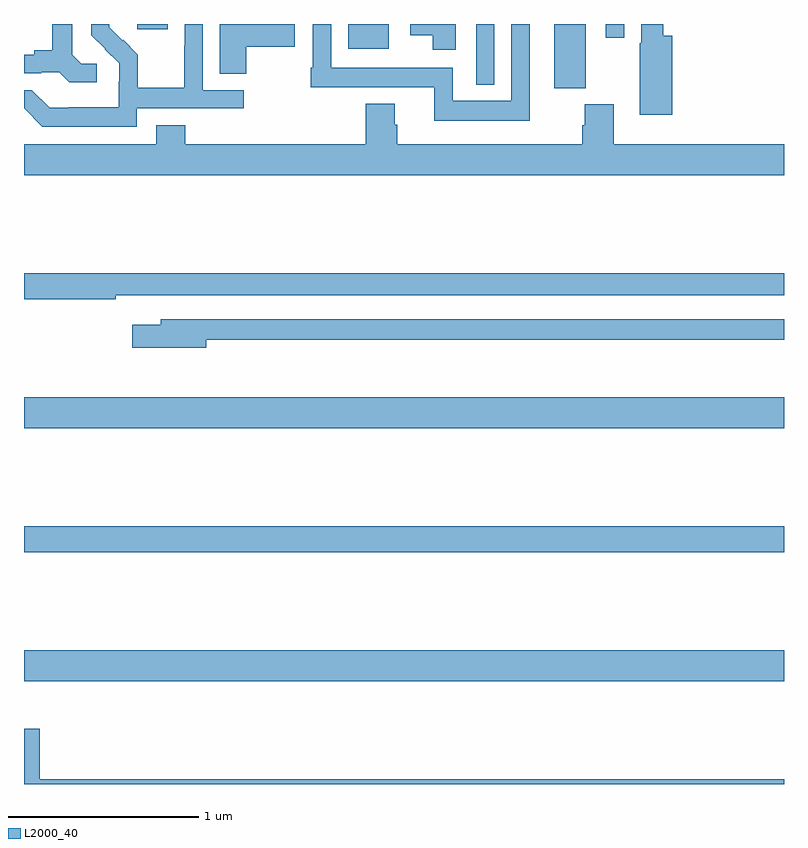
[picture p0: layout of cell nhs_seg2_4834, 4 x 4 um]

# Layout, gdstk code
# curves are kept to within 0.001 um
import gdstk
lib = gdstk.Library(unit=1e-6, precision=1e-09)
def R(c, l, rs):  # rectangles x0, y0, x1, y1
    for r in rs: c.add(gdstk.rectangle(r[:2], r[2:], *l))
def P(c, l, *ps):  # polygons
    for p in ps: c.add(gdstk.Polygon(p, *l))
L2000_40 = (2000, 40)

nhs_seg2_4834 = lib.new_cell('nhs_seg2_4834')
R(nhs_seg2_4834, L2000_40, [(375,610.34,379,610.504), (375,611.02,379,611.156), (375,611.672,379,611.836), (377.792,613.462,377.956,613.8), (377.379,613.481,377.475,613.8), (376.706,613.67,376.921,613.8), (378.063,613.728,378.159,613.8), (375.596,613.773,375.757,613.8)])
P(nhs_seg2_4834, L2000_40, [(375.594,613.356),(376.156,613.356),(376.156,613.452),(375.942,613.452),(375.942,613.8),(375.846,613.8),(375.846,613.685),(375.844,613.685),(375.844,613.465),(375.599,613.465),(375.599,613.639),(375.522,613.716),(375.519,613.713),(375.449,613.784),(375.449,613.8),(375.354,613.8),(375.354,613.742),(375.5,613.594),(375.5,613.497),(375.498,613.497),(375.498,613.363),(375.235,613.363),(375.235,613.359),(375.135,613.359),(375.042,613.452),(375,613.452),(375,613.356),(375.097,613.259),(375.594,613.259)],
  [(378.413,613.738),(378.365,613.738),(378.365,613.8),(378.249,613.8),(378.249,613.698),(378.242,613.698),(378.242,613.322),(378.413,613.322)],
  [(377.662,613.8),(377.565,613.8),(377.565,613.396),(377.256,613.396),(377.256,613.57),(376.617,613.57),(376.617,613.8),(376.521,613.8),(376.521,613.57),(376.509,613.57),(376.509,613.466),(377.159,613.466),(377.159,613.292),(377.662,613.292)],
  [(375.382,613.59),(375.3,613.59),(375.253,613.637),(375.253,613.8),(375.149,613.8),(375.149,613.661),(375.053,613.661),(375.053,613.638),(375,613.638),(375,613.542),(375.092,613.542),(375.092,613.545),(375.186,613.545),(375.238,613.493),(375.382,613.493)],
  [(377.272,613.8),(377.033,613.8),(377.033,613.742),(377.15,613.742),(377.15,613.665),(377.272,613.665)],
  [(376.17,613.679),(376.426,613.679),(376.426,613.8),(376.031,613.8),(376.031,613.537),(376.17,613.537)],
  [(379,613.168),(378.104,613.168),(378.104,613.377),(377.951,613.377),(377.951,613.268),(377.939,613.268),(377.939,613.168),(376.964,613.168),(376.964,613.269),(376.951,613.269),(376.951,613.381),(376.799,613.381),(376.799,613.168),(375.848,613.168),(375.848,613.267),(375.695,613.267),(375.695,613.168),(375,613.168),(375,613.004),(379,613.004)],
  [(375.482,612.372),(379,612.372),(379,612.488),(375,612.488),(375,612.352),(375.482,612.352)],
  [(375.958,612.138),(379,612.138),(379,612.246),(375.719,612.246),(375.719,612.217),(375.57,612.217),(375.57,612.095),(375.958,612.095)],
  [(379,609.824),(375.083,609.824),(375.083,610.09),(375,610.09),(375,609.8),(379,609.8)])

lib.write_gds('nhs_seg2_4834.gds')
